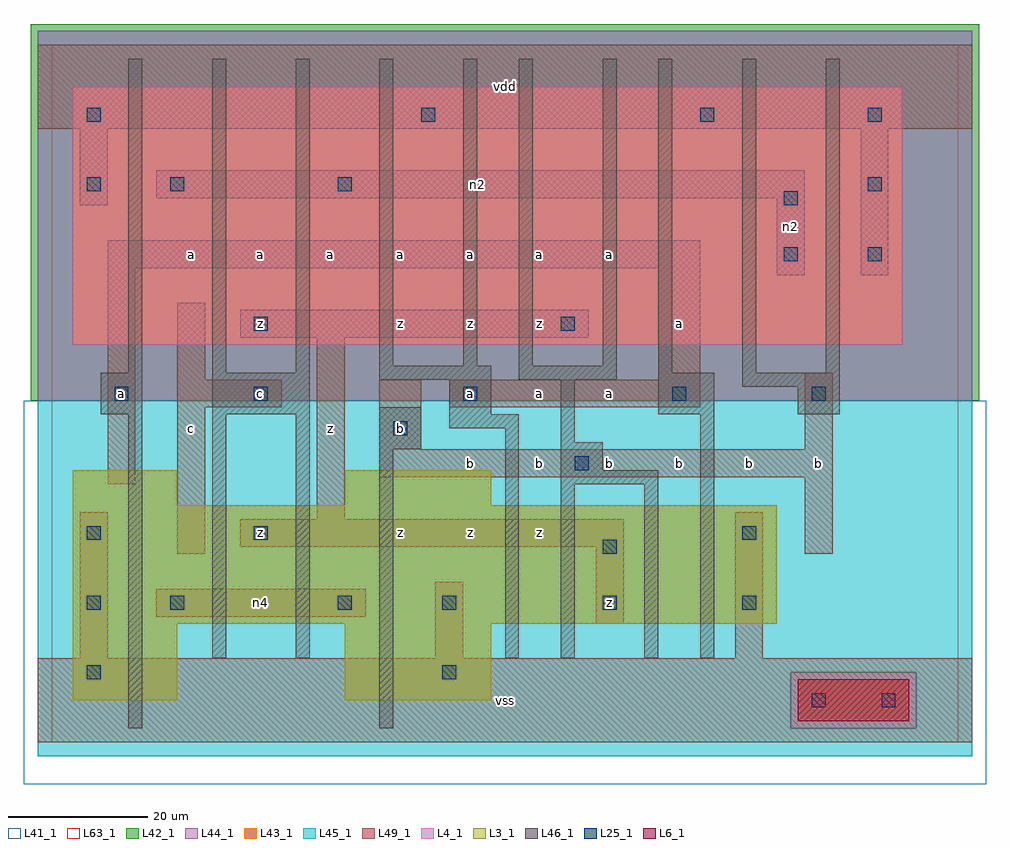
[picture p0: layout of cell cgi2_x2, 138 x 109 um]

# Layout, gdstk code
import gdstk
lib = gdstk.Library(unit=1e-6, precision=1e-09)
def R(c, l, rs):  # rectangles x0, y0, x1, y1
    for r in rs: c.add(gdstk.rectangle(r[:2], r[2:], *l))
def A(c, l, x, y, w, h, nx, ny, dx, dy):  # array of equal rectangles
    R(c, l, [(x+i*dx, y+j*dy, x+i*dx+w, y+j*dy+h) for i in range(nx) for j in range(ny)])
L3_1 = (3, 1)
L4_1 = (4, 1)
L6_1 = (6, 1)
L25_1 = (25, 1)
L41_1 = (41, 1)
L42_1 = (42, 1)
L43_1 = (43, 1)
L44_1 = (44, 1)
L45_1 = (45, 1)
L46_1 = (46, 1)
L49_1 = (49, 1)
L63_1 = (63, 1)

cgi2_x2 = lib.new_cell('cgi2_x2')
R(cgi2_x2, L3_1, [(3,6,18,17), (42,6,63,17), (3,17,104,34), (3,34,18,39), (42,34,63,39)])
R(cgi2_x2, L4_1, [(3,57,122,94)])
R(cgi2_x2, L6_1, [(107,3,123,9)])
A(cgi2_x2, L25_1, 5, 9, 2, 2, 1, 3, 0, 10)
A(cgi2_x2, L25_1, 29, 49, 2, 2, 3, 1, 30, 0)
A(cgi2_x2, L25_1, 117, 69, 2, 2, 1, 3, 0, 10)
R(cgi2_x2, L25_1, [(109,5,111,7), (119,5,121,7), (56,9,58,11), (17,19,19,21), (41,19,43,21), (56,19,58,21), (79,19,81,21), (99,19,101,21), (79,27,81,29), (29,29,31,31), (99,29,101,31), (75,39,77,41), (49,44,51,46), (9,49,11,51), (109,49,111,51), (29,59,31,61), (73,59,75,61), (105,69,107,71), (105,77,107,79), (5,79,7,81), (17,79,19,81), (41,79,43,81), (5,89,7,91), (53,89,55,91), (93,89,95,91)])
R(cgi2_x2, L41_1, [(-4,-6,134,49), (-3,-3,133,49)])
R(cgi2_x2, L42_1, [(-3,49,133,103)])
R(cgi2_x2, L43_1, [(107,3,123,9), (3,6,18,17), (42,6,63,17), (3,17,104,34), (3,34,18,39), (42,34,63,39), (3,57,122,94)])
R(cgi2_x2, L44_1, [(106,2,124,10), (-2,49,132,102)])
R(cgi2_x2, L45_1, [(-2,-2,132,2), (-2,2,106,10), (124,2,132,10), (-2,10,132,49)])
A(cgi2_x2, L46_1, 11, 53, 2, 45, 3, 1, 12, 0)
A(cgi2_x2, L46_1, 87, 53, 2, 45, 3, 1, 12, 0)
R(cgi2_x2, L46_1, [(11,2,13,47), (47,2,49,42), (23,12,25,47), (35,12,37,47), (65,12,67,45), (73,12,75,37), (85,12,87,37), (93,12,95,47), (73,37,87,39), (73,39,79,43), (47,42,53,48), (73,43,75,52), (57,45,67,47), (7,47,13,53), (23,47,37,53), (57,47,63,52), (87,47,95,53), (107,47,113,51), (99,51,113,53), (47,52,63,54), (67,52,81,54), (47,54,49,98), (59,54,61,98), (67,54,69,98), (79,54,81,98)])
R(cgi2_x2, L49_1, [(-2,0,132,12), (4,12,8,33), (55,12,59,23), (98,12,102,33), (78,17,82,28), (15,18,45,22), (18,27,22,48), (108,27,112,38), (27,28,82,32), (38,32,42,58), (8,37,12,68), (47,38,112,42), (47,42,53,52), (108,42,112,53), (18,48,33,52), (57,48,93,52), (18,52,22,63), (87,52,93,68), (27,58,77,62), (104,67,108,78), (116,67,120,88), (8,68,93,72), (4,77,8,88), (15,78,108,82), (-2,88,132,100)])
R(cgi2_x2, L63_1, [(0,0,130,100)])
cgi2_x2.add(gdstk.Label('c', (20,45), layer=49, texttype=1))
cgi2_x2.add(gdstk.Label('a', (10,50), layer=49, texttype=1))
cgi2_x2.add(gdstk.Label('a', (10,50), layer=49, texttype=1))
cgi2_x2.add(gdstk.Label('c', (20,45), layer=49, texttype=1))
cgi2_x2.add(gdstk.Label('a', (20,70), layer=49, texttype=1))
cgi2_x2.add(gdstk.Label('a', (20,70), layer=49, texttype=1))
cgi2_x2.add(gdstk.Label('n4', (30,20), layer=49, texttype=1))
cgi2_x2.add(gdstk.Label('z', (30,30), layer=49, texttype=1))
cgi2_x2.add(gdstk.Label('z', (30,30), layer=49, texttype=1))
cgi2_x2.add(gdstk.Label('c', (30,50), layer=49, texttype=1))
cgi2_x2.add(gdstk.Label('z', (40,45), layer=49, texttype=1))
cgi2_x2.add(gdstk.Label('z', (40,45), layer=49, texttype=1))
cgi2_x2.add(gdstk.Label('c', (30,50), layer=49, texttype=1))
cgi2_x2.add(gdstk.Label('z', (30,60), layer=49, texttype=1))
cgi2_x2.add(gdstk.Label('z', (30,60), layer=49, texttype=1))
cgi2_x2.add(gdstk.Label('a', (40,70), layer=49, texttype=1))
cgi2_x2.add(gdstk.Label('a', (30,70), layer=49, texttype=1))
cgi2_x2.add(gdstk.Label('a', (30,70), layer=49, texttype=1))
cgi2_x2.add(gdstk.Label('a', (40,70), layer=49, texttype=1))
cgi2_x2.add(gdstk.Label('vss', (65,6), layer=49, texttype=1))
cgi2_x2.add(gdstk.Label('vss', (65,6), layer=49, texttype=1))
cgi2_x2.add(gdstk.Label('z', (50,30), layer=49, texttype=1))
cgi2_x2.add(gdstk.Label('z', (50,30), layer=49, texttype=1))
cgi2_x2.add(gdstk.Label('z', (70,30), layer=49, texttype=1))
cgi2_x2.add(gdstk.Label('z', (60,30), layer=49, texttype=1))
cgi2_x2.add(gdstk.Label('z', (70,30), layer=49, texttype=1))
cgi2_x2.add(gdstk.Label('z', (60,30), layer=49, texttype=1))
cgi2_x2.add(gdstk.Label('b', (60,40), layer=49, texttype=1))
cgi2_x2.add(gdstk.Label('b', (70,40), layer=49, texttype=1))
cgi2_x2.add(gdstk.Label('b', (60,40), layer=49, texttype=1))
cgi2_x2.add(gdstk.Label('b', (70,40), layer=49, texttype=1))
cgi2_x2.add(gdstk.Label('b', (50,45), layer=49, texttype=1))
cgi2_x2.add(gdstk.Label('b', (50,45), layer=49, texttype=1))
cgi2_x2.add(gdstk.Label('a', (70,50), layer=49, texttype=1))
cgi2_x2.add(gdstk.Label('a', (60,50), layer=49, texttype=1))
cgi2_x2.add(gdstk.Label('a', (70,50), layer=49, texttype=1))
cgi2_x2.add(gdstk.Label('a', (60,50), layer=49, texttype=1))
cgi2_x2.add(gdstk.Label('z', (70,60), layer=49, texttype=1))
cgi2_x2.add(gdstk.Label('z', (60,60), layer=49, texttype=1))
cgi2_x2.add(gdstk.Label('z', (60,60), layer=49, texttype=1))
cgi2_x2.add(gdstk.Label('z', (70,60), layer=49, texttype=1))
cgi2_x2.add(gdstk.Label('z', (50,60), layer=49, texttype=1))
cgi2_x2.add(gdstk.Label('z', (50,60), layer=49, texttype=1))
cgi2_x2.add(gdstk.Label('a', (50,70), layer=49, texttype=1))
cgi2_x2.add(gdstk.Label('a', (50,70), layer=49, texttype=1))
cgi2_x2.add(gdstk.Label('a', (70,70), layer=49, texttype=1))
cgi2_x2.add(gdstk.Label('a', (60,70), layer=49, texttype=1))
cgi2_x2.add(gdstk.Label('a', (60,70), layer=49, texttype=1))
cgi2_x2.add(gdstk.Label('a', (70,70), layer=49, texttype=1))
cgi2_x2.add(gdstk.Label('vdd', (65,94), layer=49, texttype=1))
cgi2_x2.add(gdstk.Label('vdd', (65,94), layer=49, texttype=1))
cgi2_x2.add(gdstk.Label('z', (80,20), layer=49, texttype=1))
cgi2_x2.add(gdstk.Label('z', (80,20), layer=49, texttype=1))
cgi2_x2.add(gdstk.Label('b', (100,40), layer=49, texttype=1))
cgi2_x2.add(gdstk.Label('b', (90,40), layer=49, texttype=1))
cgi2_x2.add(gdstk.Label('b', (90,40), layer=49, texttype=1))
cgi2_x2.add(gdstk.Label('b', (100,40), layer=49, texttype=1))
cgi2_x2.add(gdstk.Label('b', (80,40), layer=49, texttype=1))
cgi2_x2.add(gdstk.Label('b', (80,40), layer=49, texttype=1))
cgi2_x2.add(gdstk.Label('a', (80,50), layer=49, texttype=1))
cgi2_x2.add(gdstk.Label('a', (80,50), layer=49, texttype=1))
cgi2_x2.add(gdstk.Label('a', (90,60), layer=49, texttype=1))
cgi2_x2.add(gdstk.Label('a', (90,60), layer=49, texttype=1))
cgi2_x2.add(gdstk.Label('a', (80,70), layer=49, texttype=1))
cgi2_x2.add(gdstk.Label('a', (80,70), layer=49, texttype=1))
cgi2_x2.add(gdstk.Label('b', (110,40), layer=49, texttype=1))
cgi2_x2.add(gdstk.Label('b', (110,40), layer=49, texttype=1))
cgi2_x2.add(gdstk.Label('n2', (106,74), layer=49, texttype=1))
cgi2_x2.add(gdstk.Label('n2', (61,80), layer=49, texttype=1))

lib.write_gds('cgi2_x2.gds')
